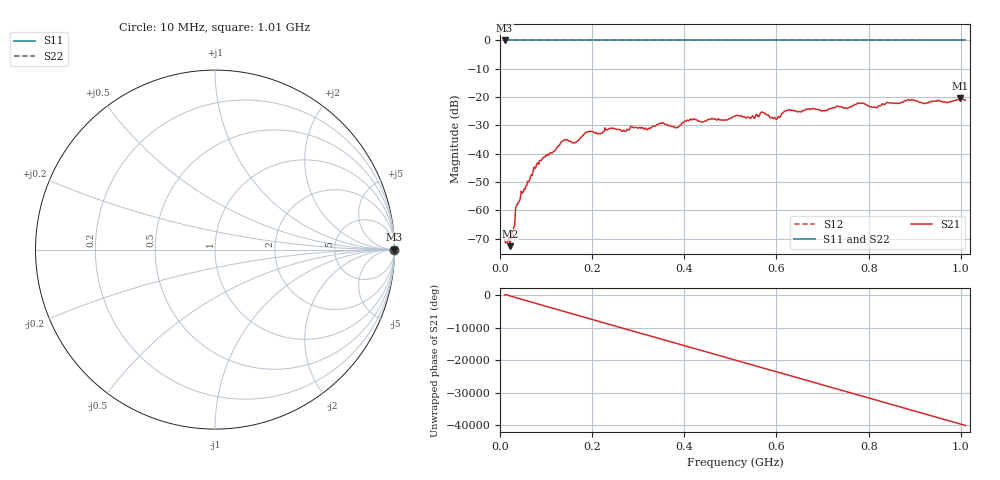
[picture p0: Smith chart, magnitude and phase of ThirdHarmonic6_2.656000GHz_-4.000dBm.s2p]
! 8/17/2025 6:05:26 AM
! C:\ANRITSUVNA\TEMP\TEMP.S2P
! CHANNEL.1
! TR.MEASUREMENT
! RAW.DATA
! RF.CORRECTION.OFF
! AVERAGING.OFF
! IF.BANDWIDTH: 5KHZ
! SWEEPTYPE:  FREQ.SWEEP(Linear)
! Reference Plane Port Info
! PORT:  PORT1  PORT2
! DISTANCE:  0  m  0  m
! TIME:  0  s  0  s
! PHASE.OFFSET:  0  deg.  0  deg.
! LOSS:  0  dB  0  dB
! REF.LOSS:  0  dB  0  dB
! REF.FREQ:  0  Hz  0  Hz
! Power Info
! POWER:  -20  dBm  -20  dBm
! EFF.POWER:  -20  dBm  -20  dBm
! SOURCE.ATTEN:  0  dB  0  dB
! TEST.ATTEN:  0  dB  0  dB
# GHZ S RI R 50.0
! FREQ.GHZ  S11RE  S11IM  S21RE  S21IM  S12RE  S12IM  S22RE  S22IM
!; PortSelection: Port_12
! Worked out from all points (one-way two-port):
!   501 points, 10 MHz to 1.01 GHz, reference 50 ohm
!   highest |S21| = -20.40 dB at 998 MHz (marker M1); lowest = -72.7 dB at 22 MHz (marker M2)
!   lowest |S11| = 0.0 dB at 10 MHz (marker M3)
!   |S11| at or under -10 dB: nowhere
!   |S22| runs from 0.0 to 0.0 dB; largest |S21 - S12| = 1.1
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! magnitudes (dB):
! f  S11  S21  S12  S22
! 10 MHz  0.0  -70.3  0.0  0.0
! 22 MHz  0.0  -72.7  0.0  0.0
! 28 MHz  0.0  -68.5  0.0  0.0
! 38 MHz  0.0  -57.6  0.0  0.0
! 78 MHz  0.0  -44.7  0.0  0.0
! 136 MHz  0.0  -35.6  0.0  0.0
! 162 MHz  0.0  -36.2  0.0  0.0
! 178 MHz  0.0  -33.8  0.0  0.0
! 194 MHz  0.0  -32.1  0.0  0.0
! 344 MHz  0.0  -29.6  0.0  0.0
! 384 MHz  0.0  -30.8  0.0  0.0
! 416 MHz  0.0  -28.1  0.0  0.0
! 510 MHz  0.0  -26.6  0.0  0.0
! 570 MHz  0.0  -25.3  0.0  0.0
! 598 MHz  0.0  -27.6  0.0  0.0
! 624 MHz  0.0  -24.8  0.0  0.0
! 678 MHz  0.0  -24.1  0.0  0.0
! 782 MHz  0.0  -22.3  0.0  0.0
! 814 MHz  0.0  -23.5  0.0  0.0
! 844 MHz  0.0  -22.1  0.0  0.0
! 998 MHz  0.0  -20.4  0.0  0.0
! 1.01 GHz  0.0  -21.1  0.0  0.0
